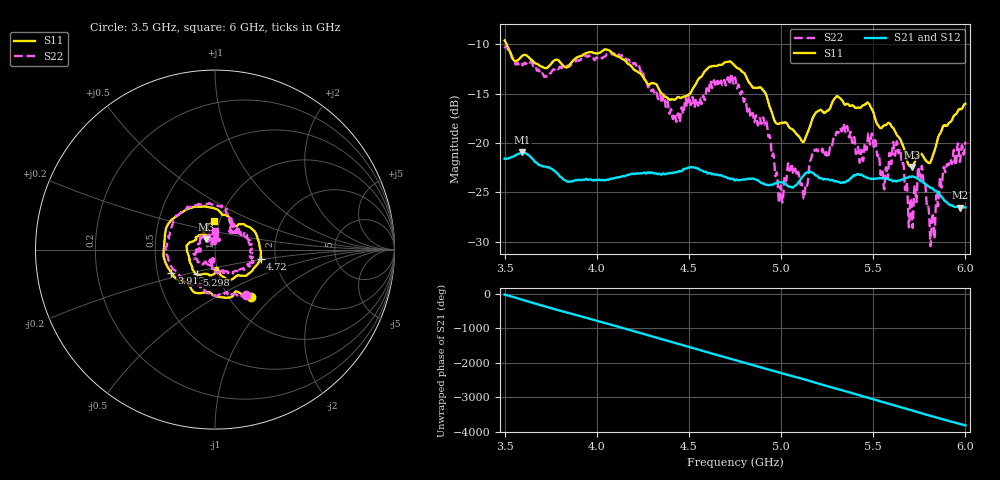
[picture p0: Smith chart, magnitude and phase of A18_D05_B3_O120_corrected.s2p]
! Created with skrf 1.9.0 (http://scikit-rf.org).
# Hz S RI R 50.0
!freq ReS11 ImS11 ReS21 ImS21 ReS12 ImS12 ReS22 ImS22
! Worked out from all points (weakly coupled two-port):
!   1601 points, 3.5 GHz to 6 GHz, reference 50 ohm
!   highest |S21| = -20.96 dB at 3.595 GHz (marker M1); lowest = -26.6 dB at 5.97 GHz (marker M2)
!   lowest |S11| = -22.4 dB at 5.709 GHz (marker M3), VSWR 1.16, Z = 45.1 + j5.29 ohm
!   |S11| at or under -10 dB: 3.511 GHz to end of sweep
!   |S22| runs from -30.5 to -10.1 dB; largest |S21 - S12| = 0.00097
!   S11 on the Smith chart (normalised r, x): 3.5 GHz: 1.26, -0.74; 3.913 GHz: 0.59, -0.17; 4.72 GHz: 1.67, -0.18; 5.298 GHz: 0.79, -0.22; 6 GHz: 0.94, +0.30
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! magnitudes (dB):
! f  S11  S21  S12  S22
! 3.5 GHz  -9.6  -21.6  -21.6  -10.3
! 3.595 GHz  -11.2  -21.0  -21.0  -12.1
! 3.913 GHz  -11.2  -23.8  -23.7  -11.5
! 3.917 GHz  -11.2  -23.8  -23.7  -11.5
! 4.334 GHz  -14.4  -23.1  -23.1  -15.6
! 4.441 GHz  -15.3  -22.9  -22.9  -17.0
! 4.72 GHz  -11.7  -23.6  -23.6  -14.1
! 4.75 GHz  -12.2  -23.8  -23.7  -13.4
! 4.914 GHz  -14.9  -24.2  -24.2  -18.1
! 4.998 GHz  -18.0  -24.0  -24.0  -24.3
! 5.048 GHz  -18.5  -24.4  -24.4  -22.8
! 5.13 GHz  -19.6  -23.1  -23.1  -24.8
! 5.167 GHz  -17.7  -23.0  -23.0  -21.3
! 5.298 GHz  -15.3  -23.9  -23.8  -19.0
! 5.584 GHz  -18.0  -23.7  -23.7  -21.8
! 5.638 GHz  -19.4  -23.8  -23.8  -21.0
! 5.709 GHz  -22.4  -23.4  -23.4  -27.3
! 5.755 GHz  -21.1  -23.8  -23.7  -23.9
! 5.82 GHz  -21.5  -24.6  -24.5  -27.3
! 5.889 GHz  -18.2  -25.9  -25.9  -22.9
! 5.97 GHz  -16.6  -26.6  -26.5  -21.9
! 6 GHz  -16.0  -26.5  -26.5  -19.9
